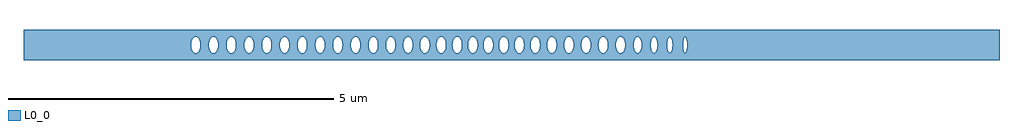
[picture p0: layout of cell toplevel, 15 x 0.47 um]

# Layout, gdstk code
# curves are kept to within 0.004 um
import gdstk
lib = gdstk.Library(unit=1e-6, precision=1e-09)
def P(c, l, *ps):  # polygons
    for p in ps: c.add(gdstk.Polygon(p, *l))
L0_0 = (0, 0)

toplevel = lib.new_cell('toplevel')
P(toplevel, L0_0, [(-2.981,-0.234),(-2.981,-0.108),(-3.006,-0.061),(-3.015,-0.008),(-3.006,0.061),(-2.981,0.108),(-2.981,0.234),(-3.689,0.234),(-3.689,0),(-3.561,0),(-3.554,0.054),(-3.538,0.093),(-3.515,0.119),(-3.488,0.128),(-3.461,0.119),(-3.435,0.087),(-3.419,0.039),(-3.416,0),(-3.288,0),(-3.283,0.047),(-3.265,0.093),(-3.242,0.119),(-3.215,0.128),(-3.189,0.119),(-3.169,0.098),(-3.154,0.068),(-3.143,0.016),(-3.146,-0.039),(-3.159,-0.081),(-3.18,-0.112),(-3.215,-0.128),(-3.242,-0.119),(-3.265,-0.093),(-3.283,-0.047),(-3.288,0),(-3.416,0),(-3.419,-0.039),(-3.435,-0.087),(-3.461,-0.119),(-3.488,-0.128),(-3.515,-0.119),(-3.538,-0.093),(-3.554,-0.054),(-3.561,0),(-3.689,0),(-3.689,-0.234)],
  [(-4.65,0.032),(-4.636,0.08),(-4.636,0.234),(-7.5,0.234),(-7.5,-0.016),(-4.925,-0.016),(-4.922,0.039),(-4.909,0.081),(-4.888,0.112),(-4.853,0.128),(-4.826,0.119),(-4.803,0.093),(-4.785,0.047),(-4.78,0),(-4.785,-0.047),(-4.803,-0.093),(-4.826,-0.119),(-4.853,-0.128),(-4.879,-0.119),(-4.899,-0.098),(-4.914,-0.068),(-4.925,-0.016),(-7.5,-0.016),(-7.5,-0.234),(-4.636,-0.234),(-4.636,-0.081),(-4.652,-0.016)],
  [(-4.633,0.087),(-4.619,0.108),(-4.598,0.123),(-4.58,0.128),(-4.553,0.119),(-4.521,0.075),(-4.507,0),(-4.521,-0.075),(-4.553,-0.119),(-4.58,-0.128),(-4.598,-0.123),(-4.619,-0.108),(-4.636,-0.081),(-4.636,-0.234),(-4.342,-0.234),(-4.342,-0.112),(-4.363,-0.081),(-4.379,-0.016),(-4.377,0.032),(-4.368,0.068),(-4.342,0.112),(-4.342,0.234),(-4.636,0.234)],
  [(-4.238,-0.039),(-4.257,-0.093),(-4.28,-0.119),(-4.307,-0.128),(-4.342,-0.112),(-4.342,-0.234),(-4.007,-0.234),(-4.007,-0.119),(-4.034,-0.128),(-4.061,-0.119),(-4.073,-0.108),(-4.093,-0.075),(-4.106,-0.016),(-4.103,0.039),(-4.093,0.075),(-4.077,0.103),(-4.048,0.125),(-4.034,0.128),(-4.007,0.119),(-4.007,0.234),(-4.342,0.234),(-4.342,0.112),(-4.32,0.125),(-4.293,0.125),(-4.272,0.112),(-4.257,0.093),(-4.238,0.039)],
  [(-3.689,-0.016),(-3.702,-0.075),(-3.715,-0.098),(-3.734,-0.119),(-3.761,-0.128),(-3.788,-0.119),(-3.811,-0.093),(-3.825,-0.061),(-3.833,-0.016),(-3.831,0.032),(-3.82,0.075),(-3.8,0.108),(-3.775,0.125),(-3.747,0.125),(-3.722,0.108),(-3.702,0.075),(-3.689,0.016),(-3.689,0.234),(-4.007,0.234),(-4.007,0.119),(-3.975,0.075),(-3.962,0.016),(-3.968,-0.054),(-3.984,-0.093),(-4.007,-0.119),(-4.007,-0.234),(-3.689,-0.234)],
  [(-2.872,-0.032),(-2.886,-0.081),(-2.916,-0.119),(-2.942,-0.128),(-2.969,-0.119),(-2.981,-0.108),(-2.981,-0.234),(-2.669,-0.234),(-2.669,-0.128),(-2.696,-0.119),(-2.719,-0.093),(-2.737,-0.047),(-2.742,-0.008),(-2.737,0.047),(-2.719,0.093),(-2.696,0.119),(-2.669,0.128),(-2.669,0.234),(-2.981,0.234),(-2.981,0.108),(-2.969,0.119),(-2.942,0.128),(-2.903,0.108),(-2.886,0.081),(-2.873,0.039)],
  [(-2.347,-0.093),(-2.362,-0.112),(-2.383,-0.125),(-2.396,-0.128),(-2.423,-0.119),(-2.443,-0.098),(-2.458,-0.068),(-2.469,-0.008),(-2.458,0.068),(-2.443,0.098),(-2.423,0.119),(-2.396,0.128),(-2.383,0.125),(-2.362,0.112),(-2.347,0.093),(-2.347,0.234),(-2.669,0.234),(-2.669,0.128),(-2.643,0.119),(-2.623,0.098),(-2.608,0.068),(-2.597,0.008),(-2.6,-0.039),(-2.62,-0.093),(-2.643,-0.119),(-2.669,-0.128),(-2.669,-0.234),(-2.347,-0.234)],
  [(-2.325,-0.024),(-2.347,-0.093),(-2.347,-0.234),(-1.927,-0.234),(-1.927,0.234),(-2.347,0.234),(-2.347,0.093),(-2.329,0.047),(-2.324,-0.008),(-2.197,-0.008),(-2.192,0.047),(-2.174,0.093),(-2.151,0.119),(-2.124,0.128),(-2.098,0.119),(-2.078,0.098),(-2.063,0.068),(-2.052,0.016),(-2.055,-0.039),(-2.068,-0.081),(-2.089,-0.112),(-2.124,-0.128),(-2.151,-0.119),(-2.174,-0.093),(-2.192,-0.047),(-2.197,-0.008),(-2.324,-0.008)],
  [(-1.924,0.039),(-1.911,0.081),(-1.894,0.108),(-1.868,0.125),(-1.841,0.125),(-1.816,0.108),(-1.796,0.075),(-1.782,0),(-1.789,-0.054),(-1.805,-0.093),(-1.828,-0.119),(-1.855,-0.128),(-1.882,-0.119),(-1.901,-0.098),(-1.916,-0.068),(-1.927,-0.016),(-1.927,-0.234),(-1.649,-0.234),(-1.649,-0.075),(-1.663,-0.008),(-1.661,0.032),(-1.649,0.074),(-1.649,0.234),(-1.927,0.234)],
  [(-1.52,-0.032),(-1.544,-0.098),(-1.577,-0.125),(-1.59,-0.128),(-1.617,-0.119),(-1.649,-0.075),(-1.649,-0.234),(-1.337,-0.234),(-1.337,-0.127),(-1.359,-0.119),(-1.382,-0.093),(-1.398,-0.054),(-1.404,-0.016),(-1.402,0.032),(-1.391,0.075),(-1.367,0.112),(-1.337,0.127),(-1.337,0.234),(-1.649,0.234),(-1.649,0.075),(-1.617,0.119),(-1.59,0.128),(-1.564,0.119),(-1.544,0.098),(-1.529,0.068),(-1.519,0.024)],
  [(-1.328,0.127),(-1.297,0.112),(-1.273,0.075),(-1.263,0.039),(-1.26,-0.016),(-1.282,-0.093),(-1.305,-0.119),(-1.337,-0.127),(-1.337,-0.234),(-1.027,-0.234),(-1.027,-0.087),(-1.041,-0.108),(-1.062,-0.123),(-1.08,-0.128),(-1.107,-0.119),(-1.139,-0.075),(-1.153,-0.008),(-1.148,0.047),(-1.139,0.075),(-1.107,0.119),(-1.08,0.128),(-1.067,0.125),(-1.045,0.112),(-1.027,0.087),(-1.027,0.234),(-1.337,0.234),(-1.337,0.127)],
  [(-1.01,-0.032),(-1.027,-0.087),(-1.027,-0.234),(-0.664,-0.234),(-0.664,0.234),(-1.027,0.234),(-1.027,0.087),(-1.011,0.039),(-1.008,-0.008),(-0.907,-0.008),(-0.902,0.047),(-0.884,0.093),(-0.861,0.119),(-0.835,0.128),(-0.808,0.119),(-0.788,0.098),(-0.773,0.068),(-0.763,0.024),(-0.763,-0.024),(-0.773,-0.068),(-0.796,-0.108),(-0.821,-0.125),(-0.853,-0.123),(-0.881,-0.098),(-0.896,-0.068),(-0.907,-0.008),(-1.008,-0.008)],
  [(-0.661,0.047),(-0.65,0.081),(-0.629,0.112),(-0.607,0.125),(-0.58,0.125),(-0.555,0.108),(-0.535,0.075),(-0.521,0),(-0.535,-0.075),(-0.555,-0.108),(-0.58,-0.125),(-0.607,-0.125),(-0.633,-0.108),(-0.65,-0.081),(-0.664,-0.032),(-0.664,-0.234),(-0.402,-0.234),(-0.402,-0.098),(-0.417,-0.068),(-0.428,-0.016),(-0.425,0.039),(-0.402,0.098),(-0.402,0.234),(-0.664,0.234)],
  [(-0.286,-0.032),(-0.297,-0.075),(-0.329,-0.119),(-0.356,-0.128),(-0.369,-0.125),(-0.402,-0.098),(-0.402,-0.234),(-0.128,-0.234),(-0.128,-0.126),(-0.145,-0.119),(-0.168,-0.093),(-0.186,-0.047),(-0.191,-0.008),(-0.189,0.032),(-0.177,0.075),(-0.157,0.108),(-0.128,0.126),(-0.128,0.234),(-0.402,0.234),(-0.402,0.098),(-0.382,0.119),(-0.356,0.128),(-0.329,0.119),(-0.317,0.108),(-0.29,0.054),(-0.283,0)],
  [(-0.119,0.128),(-0.092,0.119),(-0.069,0.093),(-0.051,0.047),(-0.046,-0.008),(-0.057,-0.068),(-0.072,-0.098),(-0.092,-0.119),(-0.128,-0.126),(-0.128,-0.234),(0.156,-0.234),(0.156,-0.112),(0.121,-0.128),(0.086,-0.112),(0.062,-0.075),(0.048,-0.008),(0.057,0.061),(0.082,0.108),(0.094,0.119),(0.121,0.128),(0.156,0.112),(0.156,0.234),(-0.128,0.234),(-0.128,0.126)],
  [(0.437,-0.032),(0.428,-0.068),(0.405,-0.108),(0.38,-0.125),(0.353,-0.125),(0.328,-0.108),(0.308,-0.075),(0.296,-0.032),(0.294,0.008),(0.299,0.047),(0.317,0.093),(0.34,0.119),(0.366,0.128),(0.393,0.119),(0.413,0.098),(0.428,0.068),(0.439,0.008),(0.439,0.234),(0.156,0.234),(0.156,0.112),(0.182,0.068),(0.193,0.008),(0.182,-0.068),(0.156,-0.112),(0.156,-0.234),(0.439,-0.234)],
  [(0.836,-0.098),(0.821,-0.068),(0.81,-0.008),(0.815,0.047),(0.836,0.098),(0.836,0.234),(0.439,0.234),(0.439,-0.016),(0.549,-0.016),(0.552,0.039),(0.565,0.081),(0.586,0.112),(0.621,0.128),(0.648,0.119),(0.671,0.093),(0.689,0.047),(0.694,0.008),(0.689,-0.047),(0.671,-0.093),(0.648,-0.119),(0.621,-0.128),(0.595,-0.119),(0.575,-0.098),(0.56,-0.068),(0.549,-0.016),(0.439,-0.016),(0.439,-0.234),(0.836,-0.234)],
  [(0.953,-0.032),(0.932,-0.093),(0.909,-0.119),(0.883,-0.128),(0.869,-0.125),(0.836,-0.098),(0.836,-0.234),(1.151,-0.234),(1.151,-0.127),(1.119,-0.119),(1.096,-0.093),(1.08,-0.054),(1.074,-0.016),(1.08,0.054),(1.096,0.093),(1.119,0.119),(1.151,0.127),(1.151,0.234),(0.836,0.234),(0.836,0.098),(0.856,0.119),(0.883,0.128),(0.909,0.119),(0.921,0.108),(0.95,0.047)],
  [(1.47,-0.068),(1.459,-0.093),(1.436,-0.119),(1.409,-0.128),(1.391,-0.123),(1.374,-0.112),(1.351,-0.075),(1.337,-0.008),(1.348,0.068),(1.363,0.098),(1.383,0.119),(1.409,0.128),(1.436,0.119),(1.459,0.093),(1.47,0.068),(1.47,0.234),(1.151,0.234),(1.151,0.127),(1.173,0.119),(1.196,0.093),(1.218,0.016),(1.216,-0.032),(1.205,-0.075),(1.181,-0.112),(1.151,-0.127),(1.151,-0.234),(1.47,-0.234)],
  [(1.478,-0.039),(1.47,-0.068),(1.47,-0.234),(1.881,-0.234),(1.881,0.234),(1.47,0.234),(1.47,0.067),(1.482,-0.008),(1.603,-0.008),(1.608,0.047),(1.626,0.093),(1.649,0.119),(1.675,0.128),(1.702,0.119),(1.722,0.098),(1.737,0.068),(1.748,0.008),(1.743,-0.047),(1.725,-0.093),(1.702,-0.119),(1.675,-0.128),(1.649,-0.119),(1.629,-0.098),(1.614,-0.068),(1.603,-0.008),(1.482,-0.008)],
  [(1.885,0.061),(1.899,0.097),(1.916,0.117),(1.931,0.125),(1.955,0.122),(1.976,0.102),(1.992,0.067),(2.001,-0.016),(1.994,-0.061),(1.982,-0.092),(1.966,-0.114),(1.947,-0.125),(1.931,-0.125),(1.909,-0.11),(1.891,-0.08),(1.881,-0.047),(1.881,-0.234),(2.159,-0.234),(2.159,-0.095),(2.146,-0.06),(2.14,-0.016),(2.143,0.046),(2.159,0.095),(2.159,0.234),(1.881,0.234),(1.881,0.046)],
  [(2.241,-0.038),(2.23,-0.085),(2.208,-0.118),(2.182,-0.122),(2.159,-0.095),(2.159,-0.234),(2.451,-0.234),(2.451,-0.11),(2.431,-0.122),(2.413,-0.107),(2.401,-0.078),(2.392,-0.023),(2.394,0.038),(2.409,0.099),(2.431,0.122),(2.451,0.11),(2.451,0.234),(2.159,0.234),(2.159,0.095),(2.176,0.118),(2.189,0.124),(2.202,0.122),(2.22,0.104),(2.239,0.053),(2.244,0.008)],
  [(2.474,-0.03),(2.466,-0.078),(2.451,-0.11),(2.451,-0.234),(7.5,-0.234),(7.5,0.234),(2.451,0.234),(2.451,0.11),(2.469,0.065),(2.475,-0.022),(2.637,-0.022),(2.641,0.064),(2.651,0.101),(2.666,0.12),(2.682,0.109),(2.698,0.044),(2.7,-0.015),(2.694,-0.071),(2.682,-0.109),(2.67,-0.12),(2.662,-0.118),(2.651,-0.101),(2.637,-0.022),(2.475,-0.022)])

lib.write_gds('toplevel.gds')
